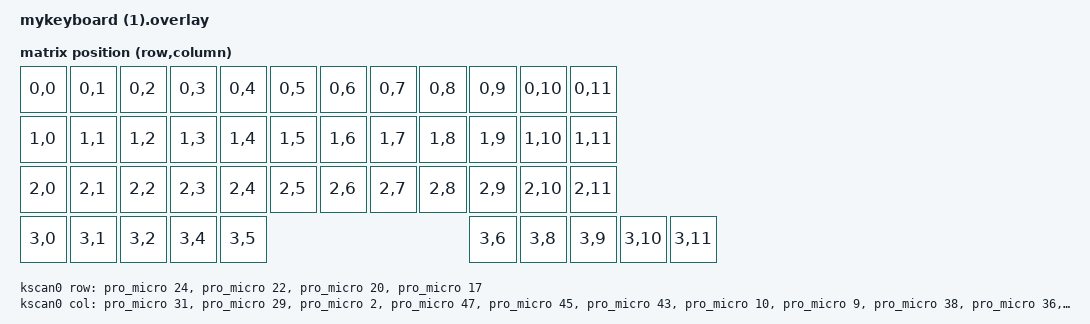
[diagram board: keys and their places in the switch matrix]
/*
 * MyKeyboard - 46 Tasten, 4 Rows x 12 Cols (unterste Reihe teilweise leer)
 * diode-direction = col2row: Dioden sitzen zwischen Switch und Row-Leitung,
 * Strom fliesst von Col -> Switch -> Diode -> Row
 */

/ {
    chosen {
        zmk,kscan = &kscan0;
        zmk,matrix-transform = &default_transform;
    };

    kscan0: kscan {
        compatible = "zmk,kscan-gpio-matrix";
        wakeup-source;

        diode-direction = "col2row";

        // Horizontal-Pins = Row 0..3 (Output)
        row-gpios
            = <&pro_micro 24 GPIO_ACTIVE_HIGH>  // Horizontal 1 -> Row 0
            , <&pro_micro 22 GPIO_ACTIVE_HIGH>  // Horizontal 2 -> Row 1
            , <&pro_micro 20 GPIO_ACTIVE_HIGH>  // Horizontal 3 -> Row 2
            , <&pro_micro 17 GPIO_ACTIVE_HIGH>  // Horizontal 4 -> Row 3
            ;

        // Vertikal-Pins = Col 0..11 (Input)
        col-gpios
            = <&pro_micro 31 GPIO_ACTIVE_HIGH>  // Vertikal 1  -> Col 0
            , <&pro_micro 29 GPIO_ACTIVE_HIGH>  // Vertikal 2  -> Col 1
            , <&pro_micro 2  GPIO_ACTIVE_HIGH>  // Vertikal 3  -> Col 2
            , <&pro_micro 47 GPIO_ACTIVE_HIGH>  // Vertikal 4  -> Col 3
            , <&pro_micro 45 GPIO_ACTIVE_HIGH>  // Vertikal 5  -> Col 4
            , <&pro_micro 43 GPIO_ACTIVE_HIGH>  // Vertikal 6  -> Col 5
            , <&pro_micro 10 GPIO_ACTIVE_HIGH>  // Vertikal 7  -> Col 6
            , <&pro_micro 9  GPIO_ACTIVE_HIGH>  // Vertikal 8  -> Col 7
            , <&pro_micro 38 GPIO_ACTIVE_HIGH>  // Vertikal 9  -> Col 8
            , <&pro_micro 36 GPIO_ACTIVE_HIGH>  // Vertikal 10 -> Col 9
            , <&pro_micro 11 GPIO_ACTIVE_HIGH>  // Vertikal 11 -> Col 10
            , <&pro_micro 32 GPIO_ACTIVE_HIGH>  // Vertikal 12 -> Col 11
            ;
    };

    default_transform: keymap_transform_0 {
        compatible = "zmk,matrix-transform";
        columns = <12>;
        rows = <4>;

        // RC(row,col) -> Position in der .keymap-Datei.
        // Row 3: Col 3 und Col 7 fehlen (keine physische Taste dort) -> einfach nicht aufgefuehrt.
        map = 
RC(0,0) RC(0,1) RC(0,2) RC(0,3) RC(0,4) RC(0,5) RC(0,6) RC(0,7) RC(0,8) RC(0,9) RC(0,10) RC(0,11)
RC(1,0) RC(1,1) RC(1,2) RC(1,3) RC(1,4) RC(1,5) RC(1,6) RC(1,7) RC(1,8) RC(1,9) RC(1,10) RC(1,11)
RC(2,0) RC(2,1) RC(2,2) RC(2,3) RC(2,4) RC(2,5) RC(2,6) RC(2,7) RC(2,8) RC(2,9) RC(2,10) RC(2,11)
RC(3,0) RC(3,1) RC(3,2)                 RC(3,4) RC(3,5) RC(3,6)                 RC(3,8) RC(3,9) RC(3,10) RC(3,11)
        >;
    };
};
